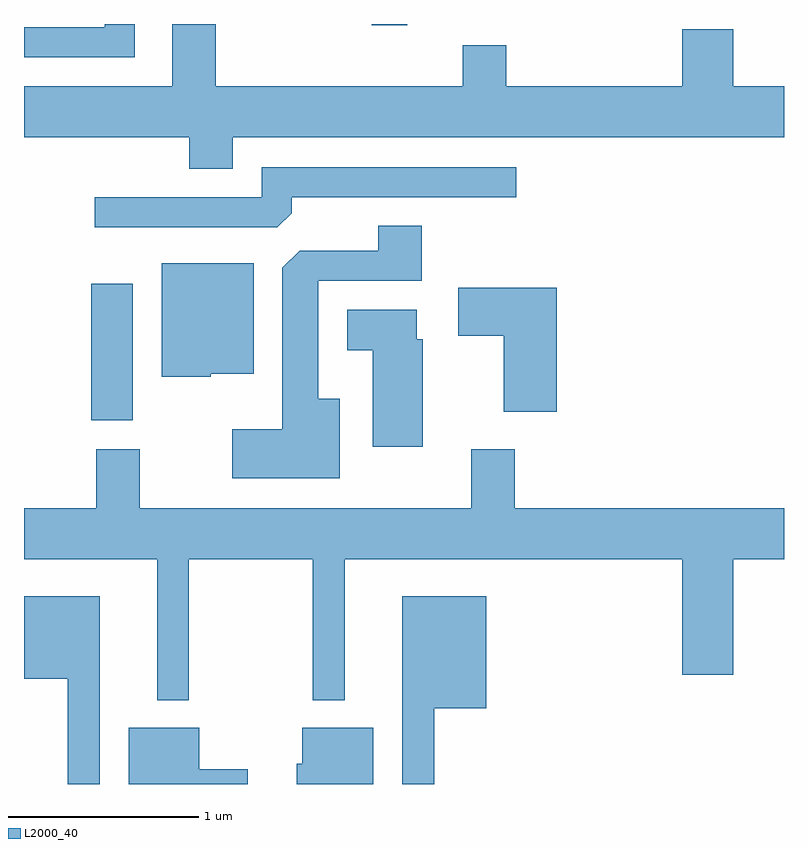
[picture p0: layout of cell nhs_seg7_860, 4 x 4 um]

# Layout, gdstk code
import gdstk
lib = gdstk.Library(unit=1e-6, precision=1e-09)
def R(c, l, rs):  # rectangles x0, y0, x1, y1
    for r in rs: c.add(gdstk.rectangle(r[:2], r[2:], *l))
def P(c, l, *ps):  # polygons
    for p in ps: c.add(gdstk.Polygon(p, *l))
L2000_40 = (2000, 40)

nhs_seg7_860 = lib.new_cell('nhs_seg7_860')
R(nhs_seg7_860, L2000_40, [(211.966,1706.166,212.184,1706.884), (213.441,1708.246,213.629,1708.252)])
P(nhs_seg7_860, L2000_40, [(212.709,1707.656),(215.611,1707.656),(215.611,1707.924),(215.344,1707.924),(215.344,1708.224),(215.076,1708.224),(215.076,1707.924),(214.149,1707.924),(214.149,1708.139),(213.921,1708.139),(213.921,1707.924),(212.619,1707.924),(212.619,1708.252),(212.391,1708.252),(212.391,1707.924),(211.611,1707.924),(211.611,1707.656),(212.481,1707.656),(212.481,1707.491),(212.709,1707.491)],
  [(212.194,1708.252),(212.036,1708.252),(212.036,1708.234),(211.611,1708.234),(211.611,1708.076),(212.194,1708.076)],
  [(213.019,1707.257),(213.019,1707.341),(214.203,1707.341),(214.203,1707.499),(212.861,1707.499),(212.861,1707.339),(211.983,1707.339),(211.983,1707.181),(212.944,1707.181)],
  [(213.274,1706.279),(213.159,1706.279),(213.159,1706.901),(213.704,1706.901),(213.704,1707.189),(213.476,1707.189),(213.476,1707.059),(213.062,1707.059),(212.971,1706.969),(212.971,1706.119),(212.706,1706.119),(212.706,1705.861),(213.274,1705.861)],
  [(212.595,1706.411),(212.819,1706.411),(212.819,1706.994),(212.336,1706.994),(212.336,1706.396),(212.595,1706.396)],
  [(214.414,1706.864),(213.896,1706.864),(213.896,1706.611),(214.136,1706.611),(214.136,1706.211),(214.414,1706.211)],
  [(213.709,1706.594),(213.679,1706.594),(213.679,1706.749),(213.311,1706.749),(213.311,1706.536),(213.446,1706.536),(213.446,1706.026),(213.709,1706.026)],
  [(212.479,1705.436),(213.131,1705.436),(213.131,1704.693),(213.299,1704.693),(213.299,1705.436),(215.076,1705.436),(215.076,1704.826),(215.344,1704.826),(215.344,1705.436),(215.611,1705.436),(215.611,1705.704),(214.194,1705.704),(214.194,1706.014),(213.966,1706.014),(213.966,1705.704),(212.219,1705.704),(212.219,1706.014),(211.991,1706.014),(211.991,1705.704),(211.611,1705.704),(211.611,1705.436),(212.311,1705.436),(212.311,1704.693),(212.479,1704.693)],
  [(212.009,1705.239),(211.611,1705.239),(211.611,1704.806),(211.841,1704.806),(211.841,1704.252),(212.009,1704.252)],
  [(213.769,1704.651),(214.044,1704.651),(214.044,1705.239),(213.601,1705.239),(213.601,1704.252),(213.769,1704.252)],
  [(213.449,1704.549),(213.076,1704.549),(213.076,1704.359),(213.046,1704.359),(213.046,1704.252),(213.449,1704.252)],
  [(212.789,1704.329),(212.534,1704.329),(212.534,1704.549),(212.161,1704.549),(212.161,1704.252),(212.789,1704.252)])

lib.write_gds('nhs_seg7_860.gds')
